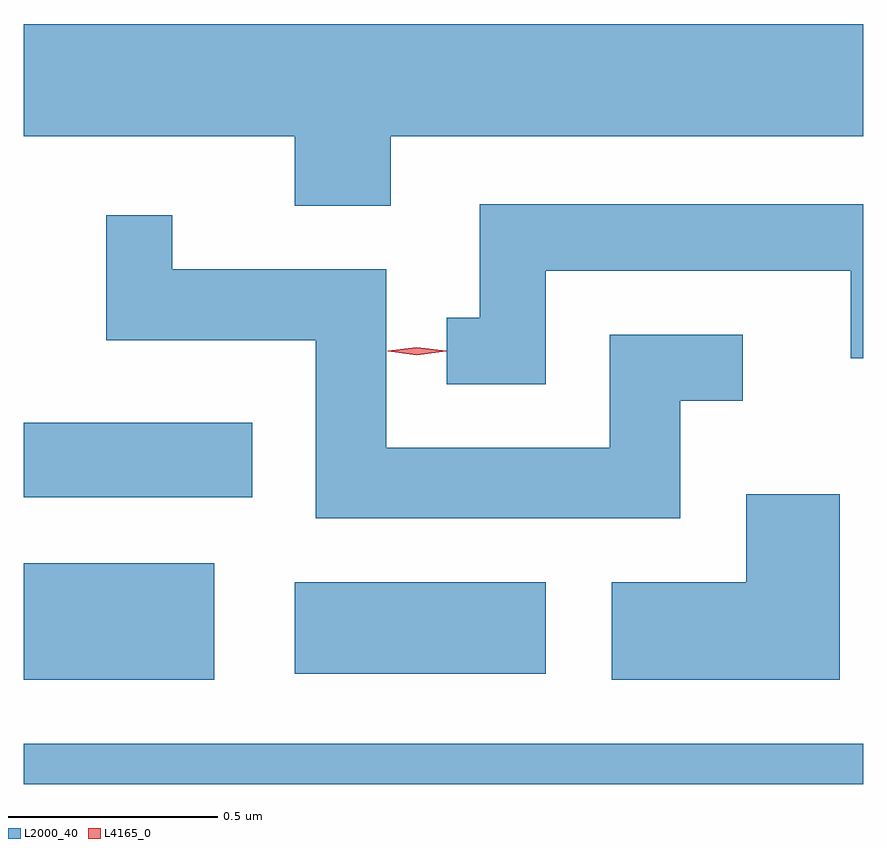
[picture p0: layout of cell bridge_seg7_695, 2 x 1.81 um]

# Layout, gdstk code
import gdstk
lib = gdstk.Library(unit=1e-6, precision=1e-09)
def R(c, l, rs):  # rectangles x0, y0, x1, y1
    for r in rs: c.add(gdstk.rectangle(r[:2], r[2:], *l))
def P(c, l, *ps):  # polygons
    for p in ps: c.add(gdstk.Polygon(p, *l))
L2000_40 = (2000, 40)
L4165_0 = (4165, 0)

bridge_seg7_695 = lib.new_cell('bridge_seg7_695')
R(bridge_seg7_695, L2000_40, [(829.175,1677.253,831.175,1677.349), (829.175,1677.501,829.629,1677.779), (829.821,1677.516,830.419,1677.734), (829.175,1677.936,829.719,1678.114)])
P(bridge_seg7_695, L2000_40, [(830.049,1678.796),(831.175,1678.796),(831.175,1679.064),(829.175,1679.064),(829.175,1678.796),(829.821,1678.796),(829.821,1678.631),(830.049,1678.631)],
  [(830.419,1678.476),(831.146,1678.476),(831.146,1678.268),(831.175,1678.268),(831.175,1678.634),(830.261,1678.634),(830.261,1678.364),(830.183,1678.364),(830.183,1678.206),(830.419,1678.206)],
  [(830.739,1678.166),(830.888,1678.166),(830.888,1678.324),(830.571,1678.324),(830.571,1678.054),(830.039,1678.054),(830.039,1678.479),(829.529,1678.479),(829.529,1678.608),(829.371,1678.608),(829.371,1678.311),(829.871,1678.311),(829.871,1677.886),(830.739,1677.886)],
  [(831.119,1677.944),(830.896,1677.944),(830.896,1677.734),(830.576,1677.734),(830.576,1677.501),(831.119,1677.501)])
P(bridge_seg7_695, L4165_0, [(830.111,1678.275),(830.042,1678.284),(830.042,1678.284),(830.042,1678.285),(830.111,1678.294),(830.181,1678.285),(830.181,1678.285),(830.181,1678.284)])

lib.write_gds('bridge_seg7_695.gds')
